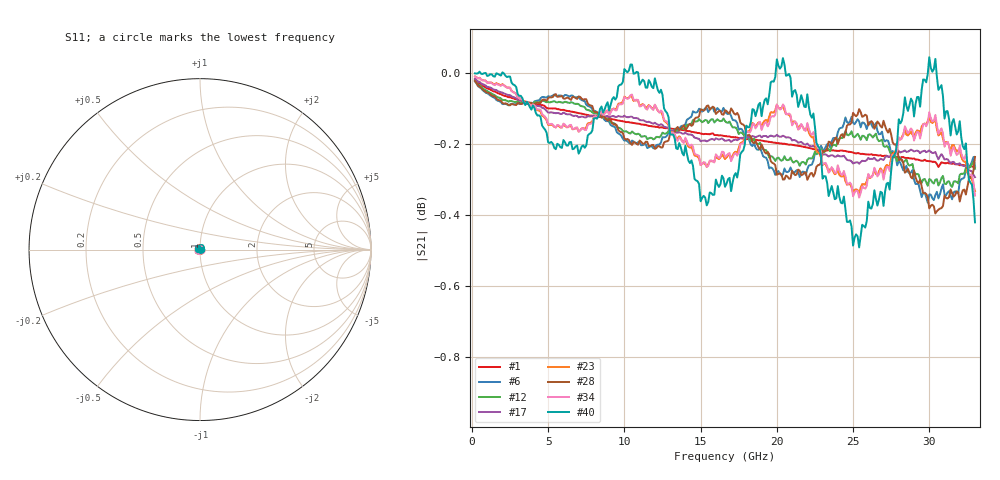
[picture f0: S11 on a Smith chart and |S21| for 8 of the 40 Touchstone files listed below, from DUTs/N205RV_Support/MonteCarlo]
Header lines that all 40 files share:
# GHZ S RI R 50
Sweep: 200 MHz to 33 GHz
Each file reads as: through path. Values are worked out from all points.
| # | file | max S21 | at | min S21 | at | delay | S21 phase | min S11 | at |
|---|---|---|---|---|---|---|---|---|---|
| 1 | N205RV_0.s2p | -0.02 dB | 200 MHz | -0.3 dB | 32.9 GHz | 248 ps | -42 deg at 16.6 GHz | -71.3 dB | 400 MHz |
| 2 | N205RV_1.s2p | -0.02 dB | 200 MHz | -0.3 dB | 33 GHz | 248 ps | -42 deg at 16.6 GHz | -74.7 dB | 400 MHz |
| 3 | N205RV_5.s2p | -0.02 dB | 200 MHz | -0.4 dB | 30.4 GHz | 248 ps | -42 deg at 16.6 GHz | -76.6 dB | 400 MHz |
| 4 | N205RV_9.s2p | -0.02 dB | 200 MHz | -0.3 dB | 30.6 GHz | 248 ps | -42 deg at 16.6 GHz | -75.0 dB | 400 MHz |
| 5 | N205RV_11.s2p | -0.02 dB | 200 MHz | -0.3 dB | 30.6 GHz | 248 ps | -42 deg at 16.6 GHz | -71.6 dB | 400 MHz |
| 6 | N205RV_13.s2p | -0.02 dB | 200 MHz | -0.4 dB | 29.9 GHz | 248 ps | -42 deg at 16.6 GHz | -81.0 dB | 500 MHz |
| 7 | N205RV_22.s2p | -0.02 dB | 200 MHz | -0.3 dB | 30.6 GHz | 248 ps | -42 deg at 16.6 GHz | -69.0 dB | 400 MHz |
| 8 | N205RV_23.s2p | -0.02 dB | 200 MHz | -0.3 dB | 30.4 GHz | 248 ps | -42 deg at 16.6 GHz | -75.9 dB | 400 MHz |
| 9 | N205RV_24.s2p | -0.02 dB | 200 MHz | -0.4 dB | 30.4 GHz | 248 ps | -42 deg at 16.6 GHz | -74.7 dB | 500 MHz |
| 10 | N205RV_27.s2p | 0.03 dB | 30.4 GHz | -0.5 dB | 25.4 GHz | 248 ps | -42 deg at 16.6 GHz | -78.9 dB | 600 MHz |
| 11 | N205RV_28.s2p | -0.02 dB | 200 MHz | -0.3 dB | 33 GHz | 248 ps | -42 deg at 16.6 GHz | -73.7 dB | 800 MHz |
| 12 | N205RV_32.s2p | -0.02 dB | 200 MHz | -0.3 dB | 31.5 GHz | 248 ps | -42 deg at 16.6 GHz | -87.3 dB | 400 MHz |
| 13 | N205RV_33.s2p | -0.02 dB | 200 MHz | -0.4 dB | 30.3 GHz | 248 ps | -42 deg at 16.6 GHz | -76.8 dB | 500 MHz |
| 14 | N205RV_34.s2p | -0.02 dB | 200 MHz | -0.3 dB | 30.6 GHz | 248 ps | -42 deg at 16.6 GHz | -76.5 dB | 400 MHz |
| 15 | N205RV_39.s2p | -0.02 dB | 200 MHz | -0.4 dB | 30.4 GHz | 248 ps | -42 deg at 16.6 GHz | -75.6 dB | 400 MHz |
| 16 | N205RV_41.s2p | -0.01 dB | 200 MHz | -0.4 dB | 25 GHz | 248 ps | -42 deg at 16.6 GHz | -70.3 dB | 600 MHz |
| 17 | N205RV_42.s2p | -0.02 dB | 200 MHz | -0.3 dB | 33 GHz | 248 ps | -42 deg at 16.6 GHz | -69.7 dB | 13.5 GHz |
| 18 | N205RV_46.s2p | 0.03 dB | 30.4 GHz | -0.5 dB | 25.4 GHz | 248 ps | -42 deg at 16.6 GHz | -74.9 dB | 600 MHz |
| 19 | N205RV_47.s2p | -0.02 dB | 200 MHz | -0.3 dB | 30 GHz | 248 ps | -42 deg at 16.6 GHz | -73.8 dB | 400 MHz |
| 20 | N205RV_49.s2p | 0.03 dB | 20 GHz | -0.5 dB | 25.4 GHz | 248 ps | -41 deg at 16.6 GHz | -71.3 dB | 600 MHz |
| 21 | N205RV_51.s2p | -0.02 dB | 200 MHz | -0.3 dB | 30 GHz | 248 ps | -42 deg at 16.6 GHz | -70.3 dB | 400 MHz |
| 22 | N205RV_52.s2p | -0.02 dB | 200 MHz | -0.3 dB | 33 GHz | 248 ps | -42 deg at 16.6 GHz | -73.1 dB | 600 MHz |
| 23 | N205RV_54.s2p | -0.01 dB | 200 MHz | -0.3 dB | 25.4 GHz | 248 ps | -42 deg at 16.6 GHz | -69.8 dB | 600 MHz |
| 24 | N205RV_57.s2p | -0.02 dB | 200 MHz | -0.4 dB | 30.4 GHz | 248 ps | -42 deg at 16.6 GHz | -73.3 dB | 500 MHz |
| 25 | N205RV_58.s2p | -0.02 dB | 200 MHz | -0.4 dB | 31.5 GHz | 248 ps | -42 deg at 16.6 GHz | -92.2 dB | 1 GHz |
| 26 | N205RV_59.s2p | -0.01 dB | 200 MHz | -0.4 dB | 25.4 GHz | 248 ps | -42 deg at 16.6 GHz | -76.0 dB | 800 MHz |
| 27 | N205RV_61.s2p | -0.02 dB | 200 MHz | -0.3 dB | 30 GHz | 248 ps | -42 deg at 16.6 GHz | -96.7 dB | 400 MHz |
| 28 | N205RV_63.s2p | -0.02 dB | 200 MHz | -0.4 dB | 30.4 GHz | 248 ps | -42 deg at 16.6 GHz | -75.1 dB | 400 MHz |
| 29 | N205RV_71.s2p | -0.02 dB | 200 MHz | -0.3 dB | 30.6 GHz | 248 ps | -42 deg at 16.6 GHz | -80.8 dB | 500 MHz |
| 30 | N205RV_73.s2p | -0.02 dB | 200 MHz | -0.4 dB | 30.4 GHz | 248 ps | -42 deg at 16.6 GHz | -79.2 dB | 400 MHz |
| 31 | N205RV_78.s2p | 0.70 dB | 31.3 GHz | -0.7 dB | 25 GHz | - | -41 deg at 16.6 GHz | -68.5 dB | 600 MHz |
| 32 | N205RV_79.s2p | -0.02 dB | 200 MHz | -0.3 dB | 30.5 GHz | 248 ps | -42 deg at 16.6 GHz | -70.8 dB | 500 MHz |
| 33 | N205RV_80.s2p | 0.00 dB | 500 MHz | -0.4 dB | 25 GHz | 248 ps | -42 deg at 16.6 GHz | -74.4 dB | 600 MHz |
| 34 | N205RV_81.s2p | -0.01 dB | 200 MHz | -0.4 dB | 25.4 GHz | 248 ps | -42 deg at 16.6 GHz | -83.3 dB | 600 MHz |
| 35 | N205RV_83.s2p | -0.01 dB | 200 MHz | -0.3 dB | 33 GHz | 248 ps | -42 deg at 16.6 GHz | -69.0 dB | 200 MHz |
| 36 | N205RV_84.s2p | -0.02 dB | 200 MHz | -0.3 dB | 30.5 GHz | 248 ps | -42 deg at 16.6 GHz | -74.0 dB | 400 MHz |
| 37 | N205RV_88.s2p | -0.02 dB | 200 MHz | -0.3 dB | 32.5 GHz | 248 ps | -42 deg at 16.6 GHz | -75.1 dB | 600 MHz |
| 38 | N205RV_89.s2p | -0.01 dB | 200 MHz | -0.4 dB | 25.4 GHz | 248 ps | -42 deg at 16.6 GHz | -69.7 dB | 600 MHz |
| 39 | N205RV_91.s2p | -0.01 dB | 200 MHz | -0.3 dB | 25.4 GHz | 248 ps | -42 deg at 16.6 GHz | -75.3 dB | 17.9 GHz |
| 40 | N205RV_92.s2p | 0.04 dB | 30 GHz | -0.5 dB | 25.4 GHz | 248 ps | -42 deg at 16.6 GHz | -72.4 dB | 600 MHz |
